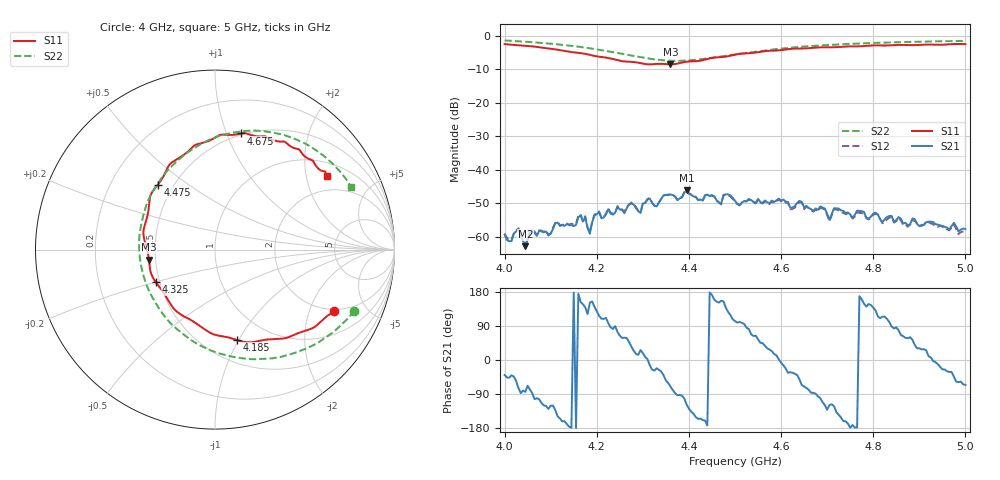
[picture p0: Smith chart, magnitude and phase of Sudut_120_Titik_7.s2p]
# Hz S RI R 50
! CMT, C1220, 16058040, 17.2.0/1
! Date: 15/08/2018 12:02:08
! Data: Format (Calibration Info)
! Freq  S11: Re/Im (F2)  S21: Re/Im (F2)  S12: Re/Im (F2)  S22: Re/Im (F2)
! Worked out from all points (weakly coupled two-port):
!   201 points, 4 GHz to 5 GHz, reference 50 ohm
!   highest |S21| = -46.16 dB at 4.395 GHz (marker M1); lowest = -62.8 dB at 4.045 GHz (marker M2)
!   lowest |S11| = -8.6 dB at 4.36 GHz (marker M3), VSWR 2.19, Z = 23 - j2.95 ohm
!   |S11| at or under -10 dB: nowhere
!   |S22| runs from -7.5 to -1.4 dB; largest |S21 - S12| = 0.00019
!   S11 on the Smith chart (normalised r, x): 4 GHz: 1.92, -2.98; 4.185 GHz: 0.71, -0.98; 4.325 GHz: 0.48, -0.20; 4.475 GHz: 0.41, +0.39; 4.675 GHz: 0.49, +1.12; 5 GHz: 1.42, +2.65
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4e9  0.6645 -0.343  0.000827 -0.000686  0.000891 -0.000676  0.7764 -0.3408
4.015e9  0.6373 -0.3618  0.000658 -0.000558  0.000711 -0.000569  0.7486 -0.3742
4.03e9  0.6037 -0.3882  0.000363 -0.00125  0.000482 -0.00125  0.7182 -0.4049
4.045e9  0.5696 -0.42  7.44e-05 -0.00072  0.000146 -0.000741  0.6854 -0.4366
4.06e9  0.5347 -0.4411  4.69e-05 -0.00126  7.03e-05 -0.00129  0.6498 -0.4663
4.17e9  0.1693 -0.5154  -0.00141 0.000918  -0.00146 0.000906  0.2815 -0.6082
4.175e9  0.1534 -0.5121  -0.00147 0.00127  -0.00156 0.0013  0.2604 -0.6092
4.185e9  0.1204 -0.5033  -0.000971 0.000534  -0.00104 0.000562  0.218 -0.611
4.205e9  0.0445 -0.484  -0.00105 0.00208  -0.0011 0.00212  0.1302 -0.6023
4.325e9  -0.33 -0.1813  0.00256 -0.00137  0.00255 -0.00136  -0.338 -0.2854
4.335e9  -0.3496 -0.1487  0.00292 -0.00144  0.00289 -0.0015  -0.3625 -0.2397
4.36e9  -0.368 -0.0552  0.00145 -0.00403  0.00151 -0.00403  -0.4058 -0.1174
4.395e9  -0.3988 0.0865  -0.00228 -0.00436  -0.00241 -0.00437  -0.4222 0.0562
4.47e9  -0.332 0.3445  -0.00283 0.00124  -0.00271 0.00135  -0.3148 0.3743
4.475e9  -0.3195 0.3606  -0.00381 0.0018  -0.00376 0.00179  -0.3032 0.3907
4.5e9  -0.2681 0.4469  -0.000756 0.00337  -0.000737 0.00326  -0.2393 0.4664
4.67e9  0.1344 0.6446  0.000142 -0.00243  0.000161 -0.00236  0.2382 0.6624
4.675e9  0.1444 0.6473  5.2e-05 -0.00264  2.78e-06 -0.00253  0.251 0.6616
4.705e9  0.2 0.6387  -0.00086 -0.00157  -0.000847 -0.00148  0.3254 0.6508
4.715e9  0.2269 0.6323  -0.00142 -0.00226  -0.00139 -0.00218  0.3493 0.6469
4.835e9  0.4373 0.5667  -0.000356 0.00201  -0.000389 0.00189  0.573 0.5464
5e9  0.6239 0.4118  0.00053 -0.00119  0.000597 -0.00107  0.7585 0.3503
